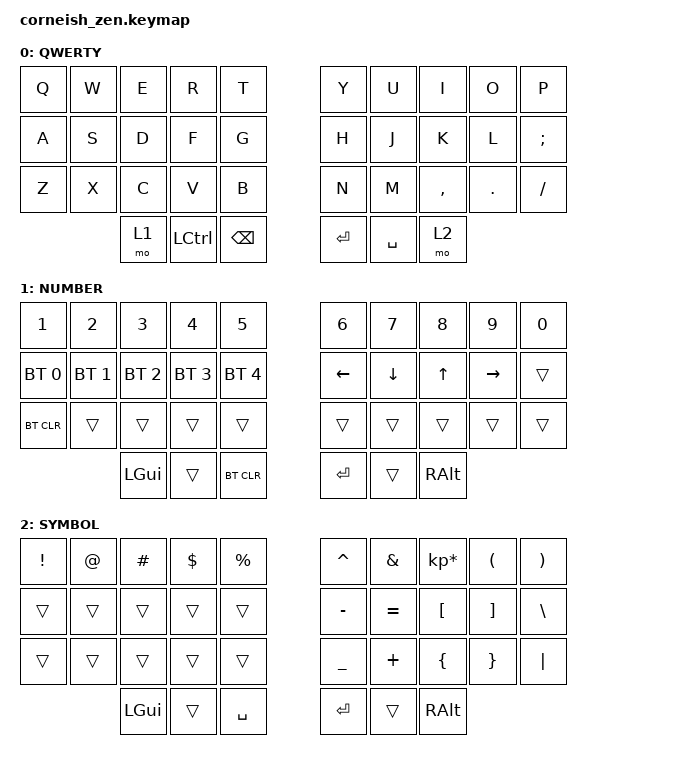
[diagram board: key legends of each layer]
#include <behaviors.dtsi>
#include <dt-bindings/zmk/keys.h>
#include <dt-bindings/zmk/bt.h>

/ {
  chosen {
    //zmk,matrix_transform = &default_transform;
    zmk,matrix_transform = &five_column_transform;
  };
};

/ {
        keymap {
                compatible = "zmk,keymap";

                default_layer {
                        label = "QWERTY";
// ------------------------------------------------------------------
// |  Q  |  W  |  E  |  R  |  T  |   |  Y  |  U   |  I  |  O  |  P  |
// |  A  |  S  |  D  |  F  |  G  |   |  H  |  J   |  K  |  L  |  ;  |
// |  Z  |  X  |  C  |  V  |  B  |   |  N  |  M   |  ,  |  .  |  /  |
//             | NUM | CTL | BKPC|   | ENT | SPC  | SYM |

                        bindings = <
   &kp Q &kp W &kp E &kp R &kp T   &kp Y &kp U  &kp I     &kp O   &kp P 
   &kp A &kp S &kp D &kp F &kp G   &kp H &kp J  &kp K     &kp L   &kp SEMI
   &kp Z &kp X &kp C &kp V &kp B   &kp N &kp M  &kp COMMA &kp DOT &kp FSLH
                  &mo 1 &kp LCTRL &kp BSPC   &kp RET &kp SPACE &mo 2 
                        >;
                };
                lower_layer {
                        label = "NUMBER";
// -----------------------------------------------------------------
// |  1  |  2  |  3  |  4  |  5  |   |  6  |  7  |  8  |  9  |  0  |
// | BT1 | BT2 | BT3 | BT4 | BT5 |   | LFT | DWN |  UP | RGT |     |
// |BTCLR|     |     |     |     |   |     |     |     |     |     |
/             | GUI |     | SPC |   | ENT |     | ALT |

                        bindings = <
   &kp N1       &kp N2       &kp N3       &kp N4       &kp N5         &kp N6   &kp N7   &kp N8 &kp N9    &kp N0
   &bt BT_SEL 0 &bt BT_SEL 1 &bt BT_SEL 2 &bt BT_SEL 3 &bt BT_SEL 4   &kp LEFT &kp DOWN &kp UP &kp RIGHT &trans
   &bt BT_CLR       &trans       &trans       &trans       &trans         &trans   &trans   &trans &trans    &trans
                            &kp LGUI     &trans       &bt BT_CLR &kp RET  &trans   &kp RALT
                        >;
                };

                raise_layer {
                        label = "SYMBOL";
// -----------------------------------------------------------------
// |  !  |  @  | \#  |  $  |  %  |   |  ^  |  &  |  *  |  (  |  )  |
// |     |     |     |     |     |   |  -  |  =  |  [  |  ]  |  \  |
// |     |     |     |     |     |   |  _  |  +  |  {  |  }  | "|" |
//                    | GUI |     | SPC |   | ENT |     | ALT |
                        bindings = <
   &kp EXCL &kp AT &kp HASH &kp DLLR &kp PRCNT   &kp CARET &kp AMPS  &kp KP_MULTIPLY &kp LPAR &kp RPAR
   &trans   &trans &trans   &trans   &trans      &kp MINUS &kp EQUAL &kp LBKT        &kp RBKT &kp BSLH
   &trans   &trans &trans   &trans   &trans      &kp UNDER &kp PLUS  &kp LBRC        &kp RBRC &kp PIPE
                    &kp LGUI &trans   &kp SPACE   &kp RET   &trans    &kp RALT
                        >;
                };
        };
};
